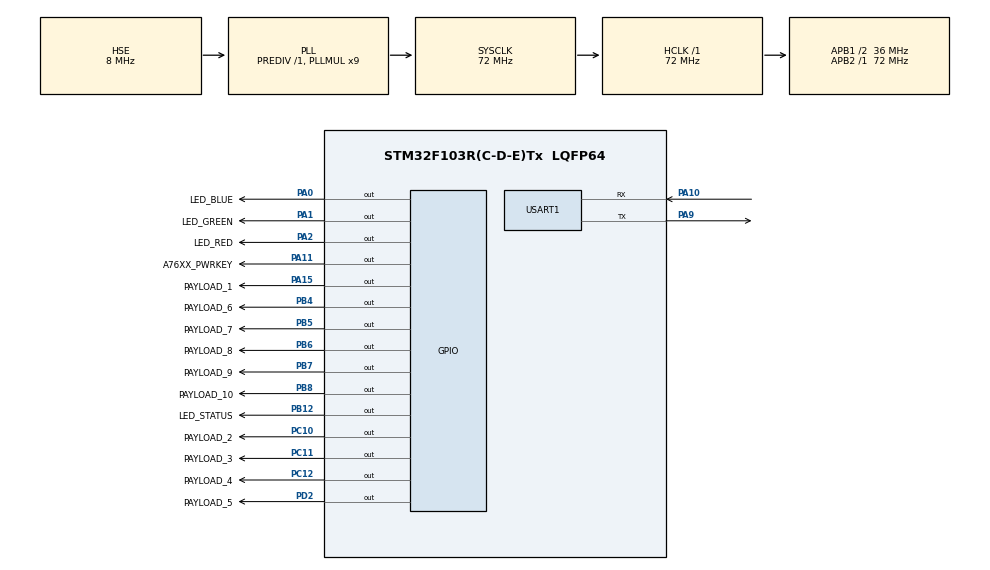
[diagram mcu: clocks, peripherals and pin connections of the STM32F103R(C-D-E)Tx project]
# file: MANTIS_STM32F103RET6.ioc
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IWDG.Prescaler=IWDG_PRESCALER_256
Mcu.Family=STM32F1
Mcu.Name=STM32F103R(C-D-E)Tx
Mcu.Package=LQFP64
NVIC.PriorityGroup=NVIC_PRIORITYGROUP_4
NVIC.TIM6_IRQn=true\:3\:0\:true\:false\:true\:true\:true\:true
NVIC.USART1_IRQn=true\:0\:0\:true\:false\:true\:true\:true\:true
PA0-WKUP.GPIO_Label=LED_BLUE
PA0-WKUP.Signal=GPIO_Output
PA1.GPIO_Label=LED_GREEN
PA1.Signal=GPIO_Output
PA10.Mode=Asynchronous
PA10.Signal=USART1_RX
PA11.GPIO_Label=A76XX_PWRKEY
PA11.Signal=GPIO_Output
PA13.Mode=Trace_Asynchronous_SW
PA13.Signal=SYS_JTMS-SWDIO
PA14.Mode=Trace_Asynchronous_SW
PA14.Signal=SYS_JTCK-SWCLK
PA15.GPIO_Label=PAYLOAD_1
PA15.Signal=GPIO_Output
PA2.GPIO_Label=LED_RED
PA2.Signal=GPIO_Output
PA9.Mode=Asynchronous
PA9.Signal=USART1_TX
PB12.GPIO_Label=LED_STATUS
PB12.Signal=GPIO_Output
PB3.Mode=Trace_Asynchronous_SW
PB3.Signal=SYS_JTDO-TRACESWO
PB4.GPIO_Label=PAYLOAD_6
PB4.Signal=GPIO_Output
PB5.GPIO_Label=PAYLOAD_7
PB5.Signal=GPIO_Output
PB6.GPIO_Label=PAYLOAD_8
PB6.Signal=GPIO_Output
PB7.GPIO_Label=PAYLOAD_9
PB7.Signal=GPIO_Output
PB8.GPIO_Label=PAYLOAD_10
PB8.Signal=GPIO_Output
PC10.GPIO_Label=PAYLOAD_2
PC10.Signal=GPIO_Output
PC11.GPIO_Label=PAYLOAD_3
PC11.Signal=GPIO_Output
PC12.GPIO_Label=PAYLOAD_4
PC12.Signal=GPIO_Output
PD0-OSC_IN.Mode=HSE-External-Oscillator
PD0-OSC_IN.Signal=RCC_OSC_IN
PD1-OSC_OUT.Mode=HSE-External-Oscillator
PD1-OSC_OUT.Signal=RCC_OSC_OUT
PD2.GPIO_Label=PAYLOAD_5
PD2.Signal=GPIO_Output
ProjectManager.HeapSize=0x200
ProjectManager.StackSize=0x400
ProjectManager.TargetToolchain=STM32CubeIDE
RCC.AHBFreq_Value=72000000
RCC.APB1CLKDivider=RCC_HCLK_DIV2
RCC.APB1Freq_Value=36000000
RCC.APB1TimFreq_Value=72000000
RCC.APB2Freq_Value=72000000
RCC.APB2TimFreq_Value=72000000
RCC.HCLKFreq_Value=72000000
RCC.PLLMUL=RCC_PLL_MUL9
RCC.PLLSourceVirtual=RCC_PLLSOURCE_HSE
RCC.SYSCLKFreq_VALUE=72000000
RCC.SYSCLKSource=RCC_SYSCLKSOURCE_PLLCLK
RCC.USBFreq_Value=72000000
TIM6.Period=1999
TIM6.Prescaler=35999
USART1.VirtualMode=VM_ASYNC
VP_IWDG_VS_IWDG.Mode=IWDG_Activate
VP_TIM6_VS_ClockSourceINT.Mode=Enable_Timer
board=custom

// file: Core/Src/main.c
/* USER CODE BEGIN Header */
/**
 ******************************************************************************
 * @file           : main.c
 * @brief          : Main program body
 ******************************************************************************
 * @attention
 *
 * Copyright (c) 2024 STMicroelectronics.
 * All rights reserved.
 *
 * This software is licensed under terms that can be found in the LICENSE file
 * in the root directory of this software component.
 * If no LICENSE file comes with this software, it is provided AS-IS.
 *
 ******************************************************************************
 */
/* USER CODE END Header */
#include "main.h"

/* USER CODE BEGIN Includes */
#include "cJSON.h"
#include "stdbool.h"
#include "stdio.h"
#include "stdlib.h"
#include "string.h"
#include <math.h>
#include "config.h"
#include "device_config.h"
#include "ota_update.h"

/* USER CODE END Includes */

/* USER CODE BEGIN PM */
int _write(int file, char *ptr, int len) {

  int i;
  for (i = 0; i < len; i++) {
    ITM_SendChar(*ptr++);
  }
  return len;
}

/* USER CODE END PM */

IWDG_HandleTypeDef hiwdg;

TIM_HandleTypeDef htim6;

UART_HandleTypeDef huart1;

/* USER CODE BEGIN PV */
GPIO_TypeDef *GPIO_LOAD_PORT[10] = {PAYLOAD_1_GPIO_Port, PAYLOAD_2_GPIO_Port,
                                    PAYLOAD_3_GPIO_Port, PAYLOAD_4_GPIO_Port,
                                    PAYLOAD_5_GPIO_Port, PAYLOAD_6_GPIO_Port,
                                    PAYLOAD_7_GPIO_Port, PAYLOAD_8_GPIO_Port,
                                    PAYLOAD_9_GPIO_Port, PAYLOAD_10_GPIO_Port};
unsigned int GPIO_LOAD_PIN[10] = {
    PAYLOAD_1_Pin, PAYLOAD_2_Pin, PAYLOAD_3_Pin, PAYLOAD_4_Pin, PAYLOAD_5_Pin,
    PAYLOAD_6_Pin, PAYLOAD_7_Pin, PAYLOAD_8_Pin, PAYLOAD_9_Pin, PAYLOAD_10_Pin};
char array_at_command[400];
float signal_strength = 0;
int on_relay = 0;
int rssi = -99;
int is_pb_done = 0;
int load_port;

char rx_buffer[RX_BUFFER_UART1];
char rx_data_sim[RX_BUFFER_UART1];
int previousTick;
int is_connect_simcom = 0;
int is_connect_mqtt = 0;
float data_percentage_pin;
int to_send_status_to_server;
uint16_t frequency_1hz = 0;

bool is_enable_mqtt = false;
bool is_connected_mqtt = false;
bool is_checked_sim = false;
bool is_subcribed_mqtt = false;
bool is_published_mqtt = false;
bool is_acquiered_mqtt = false;
bool is_updated_status = false;
bool is_rpc_response_pending = false;
uint8_t total_errors = 0;

enum GmsModemState current_status_simcom = Off;
uint8_t check_error_internet;
uint8_t check_error_mqtt;

bool check_mqtt_signal_after_restart = false;
uint16_t time_after_restart;
char rpc_response_request_id[16];
char rpc_response_payload[200];
static bool ota_request_pending;
static bool ota_tim6_was_running;
static volatile bool relay_shutdown_pending;

/* USER CODE END PV */

void SystemClock_Config(void);
static void MX_GPIO_Init(void);
static void MX_TIM6_Init(void);
static void MX_USART1_UART_Init(void);
static void MX_IWDG_Init(void);
/* USER CODE BEGIN PFP */
void enable_simcom(void); // reset module simcom A76XX
void send_to_simcom_a76xx(char *cmd);
void led_status(char cmd);
static void pause_non_ota_io(void);
static void resume_non_ota_io(void);

/* USER CODE END PFP */

/* USER CODE BEGIN 0 */
void HAL_TIM_PeriodElapsedCallback(TIM_HandleTypeDef *htim) {
  if (htim->Instance == htim6.Instance) {
    if (current_status_simcom >= Subscribed) {
      frequency_1hz++;
      if (frequency_1hz >= INTERVAL_PUPLISH_DATA) {
        to_send_status_to_server = 1;
        frequency_1hz = 0;
      }
    }
    if (!check_mqtt_signal_after_restart) {
      time_after_restart++;
      if (time_after_restart > CHECK_TIME_AFTER_MQTT_RESTART) {
        relay_shutdown_pending = true;
        check_mqtt_signal_after_restart = true;
      }
    }
  }
}
void enable_simcom(void) {
  led_status('R');
  printf("Enable SIMCOM\n");
#if SIMCOM_MODEL == a7080
  send_to_simcom_a76xx("AT+CPOWD=1\r\n");
  HAL_Delay(5000);
  HAL_GPIO_WritePin(A76XX_PWRKEY_GPIO_Port, A76XX_PWRKEY_Pin, SET);
  HAL_Delay(4000);
  HAL_GPIO_WritePin(A76XX_PWRKEY_GPIO_Port, A76XX_PWRKEY_Pin, RESET);
  HAL_Delay(4000);
#else
  HAL_GPIO_WritePin(A76XX_PWRKEY_GPIO_Port, A76XX_PWRKEY_Pin, SET);
  HAL_Delay(3300);
  HAL_GPIO_WritePin(A76XX_PWRKEY_GPIO_Port, A76XX_PWRKEY_Pin, RESET);
  HAL_Delay(3300);
  HAL_GPIO_WritePin(A76XX_PWRKEY_GPIO_Port, A76XX_PWRKEY_Pin, SET);
  HAL_Delay(500);
  HAL_GPIO_WritePin(A76XX_PWRKEY_GPIO_Port, A76XX_PWRKEY_Pin, RESET);
  HAL_Delay(1000);
#endif
}
void led_status(char cmd) {
  if (cmd == 'R') {
    HAL_GPIO_WritePin(LED_BLUE_GPIO_Port, LED_BLUE_Pin, SET);
    HAL_GPIO_WritePin(LED_RED_GPIO_Port, LED_RED_Pin, SET);
    HAL_GPIO_WritePin(LED_GREEN_GPIO_Port, LED_GREEN_Pin, RESET);
  } else if (cmd == 'B') {
    HAL_GPIO_WritePin(LED_BLUE_GPIO_Port, LED_BLUE_Pin, SET);
    HAL_GPIO_WritePin(LED_RED_GPIO_Port, LED_RED_Pin, RESET);
    HAL_GPIO_WritePin(LED_GREEN_GPIO_Port, LED_GREEN_Pin, SET);
  } else if (cmd == 'G') {
    HAL_GPIO_WritePin(LED_BLUE_GPIO_Port, LED_BLUE_Pin, RESET);
    HAL_GPIO_WritePin(LED_RED_GPIO_Port, LED_RED_Pin, SET);
    HAL_GPIO_WritePin(LED_GREEN_GPIO_Port, LED_GREEN_Pin, SET);
  } else if (cmd == 'W') {
    HAL_GPIO_WritePin(LED_BLUE_GPIO_Port, LED_BLUE_Pin, RESET);
    HAL_GPIO_WritePin(LED_RED_GPIO_Port, LED_RED_Pin, RESET);
    HAL_GPIO_WritePin(LED_GREEN_GPIO_Port, LED_GREEN_Pin, RESET);
  }
}

static void pause_non_ota_io(void) {
  ota_tim6_was_running = (htim6.Instance->CR1 & TIM_CR1_CEN) != 0U;
  to_send_status_to_server = 0;
  HAL_TIM_Base_Stop_IT(&htim6);
  __HAL_TIM_CLEAR_FLAG(&htim6, TIM_FLAG_UPDATE);
  HAL_NVIC_ClearPendingIRQ(TIM6_IRQn);
  /* USART1 is the only active data path during OTA and must preempt all
   * remaining interrupts while receiving binary HTTP chunks. */
  HAL_NVIC_SetPriority(USART1_IRQn, 0U, 0U);
  printf("[OTA] non-OTA I/O paused; USART1 priority=0\r\n");
}

static void resume_non_ota_io(void) {
  __HAL_TIM_CLEAR_FLAG(&htim6, TIM_FLAG_UPDATE);
  if (ota_tim6_was_running) {
    HAL_TIM_Base_Start_IT(&htim6);
  }
}
void check_handle_state(enum GmsModemState status) {
  switch (status) {
  case Off: {
    enable_simcom();
    IWDG->KR = 0xAAAA;
    is_pb_done = wait_for_pb_done_event();
    if (is_pb_done) {
      current_status_simcom = On;
      printf("Current status Simcom On \r\n");
    } else {
      NVIC_SystemReset();
    }
    break;
  }
  case On: {
    IWDG->KR = 0xAAAA;
    is_checked_sim = check_signal_simcom();
    if (is_checked_sim) {
      total_errors = 0;
      current_status_simcom = InternetReady;
      printf("Simcom current status is Internet ready\r\n");
    } else {
      total_errors++;
    }
    if (total_errors > 10) {
      restart_stm32();
    }
    break;
  }
  case InternetReady: {
    IWDG->KR = 0xAAAA;
    is_enable_mqtt = enable_mqtt_on_gsm_modem();
#if SIMCOM_MODEL != a7080
    if (is_enable_mqtt) {
      is_acquiered_mqtt = acquire_gsm_mqtt_client();
    } else {
      NVIC_SystemReset();
    }
    if (is_acquiered_mqtt) {
      is_connected_mqtt = connect_mqtt_server_by_gsm();
    }
#endif
    if (is_connected_mqtt) {
      total_errors = 0;
      led_status('G');
      current_status_simcom = MqttReady;
      printf("Simcom current status is MQTT ready\r\n");
    } else
      total_errors++;
    if (total_errors > 3) {
      restart_stm32();
    }
    break;
  }
  case MqttReady: {
    IWDG->KR = 0xAAAA;
    is_subcribed_mqtt = subscribe_mqtt_via_gsm();
    if (is_subcribed_mqtt) {
      total_errors = 0;
      current_status_simcom = Subscribed;
      printf("\r\nCurrent status Simcom Subscribed \r\n");
    } else
      total_errors++;
    if (total_errors > 3) {
      restart_stm32();
    }
    break;
  }
  case Subscribed: {
    if (to_send_status_to_server) {
      is_updated_status = send_payload_signal_to_server();
      if (is_updated_status) {
        to_send_status_to_server = 0;
        is_updated_status=0;
        IWDG->KR = 0xAAAA;
        total_errors = 0;
      } else {
        total_errors++;
        if (total_errors > 3) {
          stop_mqtt_via_gsm();
          current_status_simcom = On;
        }
      }
    }
    break;
  }
  case Response: {
    printf("STM32 response data server !\r\n");
    if (is_rpc_response_pending) {
      IWDG->KR = 0xAAAA;
      if (publish_rpc_response_via_gsm()) {
        is_rpc_response_pending = false;
        rpc_response_request_id[0] = '\0';
        rpc_response_payload[0] = '\0';
        current_status_simcom = Subscribed;
        total_errors = 0;
      } else {
        total_errors++;
        if (total_errors > 3) {
          is_rpc_response_pending = false;
          rpc_response_request_id[0] = '\0';
          rpc_response_payload[0] = '\0';
          stop_mqtt_via_gsm();
          current_status_simcom = On;
        }
      }
    } else {
      current_status_simcom = Subscribed;
    }
    break;
  }
  default:
    printf("Case cannot be determined !\r\n");
  }
}

/* USER CODE END 0 */

int main(void)
{

  /* MCU Configuration--------------------------------------------------------*/

  /* Reset of all peripherals, Initializes the Flash interface and the Systick. */
  HAL_Init();

  /* Configure the system clock */
  SystemClock_Config();

  /* Initialize all configured peripherals */
  MX_GPIO_Init();
  MX_TIM6_Init();
  MX_USART1_UART_Init();
  MX_IWDG_Init();
  /* USER CODE BEGIN 2 */
  HAL_Delay(500U);
  printf("-----Welcome to Agriconnect-----\n");
  printf("-----Hello Mantis-----\n");
  {
    const device_config_t *device_config = device_config_get();
    if (device_config != NULL) {
      printf("[CONFIG] factory configuration valid serial=%s client_id=%s\r\n",
             device_config->serial_number, device_config->mqtt_client_id);
    } else {
      printf("[CONFIG] ERROR: flash bootloader with factory settings first\r\n");
    }
  }
#if SAVE_LOAD
  control_vavle_form_flash();
#endif
  HAL_UARTEx_ReceiveToIdle_IT(&huart1, (uint8_t *)rx_buffer, RX_BUFFER_UART1);
  ota_init();
  HAL_TIM_Base_Start_IT(&htim6);

  /* USER CODE END 2 */

  /* Infinite loop */
  while (1) {

    /* USER CODE BEGIN 3 */
    process_simcom_rx();
    if (relay_shutdown_pending) {
      relay_shutdown_pending = false;
      for (int i = 0; i < NUMBER_LOADS; i++) {
        HAL_GPIO_WritePin(GPIO_LOAD_PORT[i], GPIO_LOAD_PIN[i], GPIO_PIN_RESET);
      }
      write_status_load();
    }
    if (ota_take_request()) {
      ota_request_pending = true;
      to_send_status_to_server = 0;
    }
    if (ota_request_pending) {
      ota_result_t ota_result;
      bool ota_ack_sent = false;
      ota_request_pending = false;
      for (uint8_t attempt = 1U; attempt <= 3U; attempt++) {
        printf("[OTA] ACK attempt %u/3\r\n", attempt);
        if (publish_ota_ack_via_gsm()) {
          ota_ack_sent = true;
          break;
        }
        HAL_Delay(250U);
      }
      if (!ota_ack_sent) {
        printf("[OTA] ACK unavailable; continuing update check\r\n");
      }
      printf("[OTA] starting update check (modem_state=%d)\r\n",
             (int)current_status_simcom);
      pause_non_ota_io();
      ota_result = ota_check_and_download();
      if (ota_result == OTA_RESULT_OK) {
        printf("[OTA] image verified; resetting to bootloader\r\n");
        HAL_Delay(500U);
        NVIC_SystemReset();
        while (1) {
          IWDG->KR = 0xAAAAU;
        }
      } else if (ota_result == OTA_RESULT_NO_UPDATE) {
        resume_non_ota_io();
        printf("[OTA] firmware is already current\r\n");
      } else if (ota_result == OTA_RESULT_BUSY) {
        resume_non_ota_io();
        printf("[OTA] update is already running\r\n");
      } else {
        resume_non_ota_io();
        printf("[OTA] update failed\r\n");
      }
    } else if (!simcom_mqtt_rx_pending()) {
      check_handle_state(current_status_simcom);
    } else {
      IWDG->KR = 0xAAAAU;
    }
  }
  /* USER CODE END 3 */
}

void SystemClock_Config(void)
{
  RCC_OscInitTypeDef RCC_OscInitStruct = {0};
  RCC_ClkInitTypeDef RCC_ClkInitStruct = {0};

  /** Initializes the RCC Oscillators according to the specified parameters
  * in the RCC_OscInitTypeDef structure.
  */
  RCC_OscInitStruct.OscillatorType = RCC_OSCILLATORTYPE_LSI|RCC_OSCILLATORTYPE_HSE;
  RCC_OscInitStruct.HSEState = RCC_HSE_ON;
  RCC_OscInitStruct.HSEPredivValue = RCC_HSE_PREDIV_DIV1;
  RCC_OscInitStruct.HSIState = RCC_HSI_ON;
  RCC_OscInitStruct.LSIState = RCC_LSI_ON;
  RCC_OscInitStruct.PLL.PLLState = RCC_PLL_ON;
  RCC_OscInitStruct.PLL.PLLSource = RCC_PLLSOURCE_HSE;
  RCC_OscInitStruct.PLL.PLLMUL = RCC_PLL_MUL9;
  if (HAL_RCC_OscConfig(&RCC_OscInitStruct) != HAL_OK)
  {
    Error_Handler();
  }

  /** Initializes the CPU, AHB and APB buses clocks
  */
  RCC_ClkInitStruct.ClockType = RCC_CLOCKTYPE_HCLK|RCC_CLOCKTYPE_SYSCLK
                              |RCC_CLOCKTYPE_PCLK1|RCC_CLOCKTYPE_PCLK2;
  RCC_ClkInitStruct.SYSCLKSource = RCC_SYSCLKSOURCE_PLLCLK;
  RCC_ClkInitStruct.AHBCLKDivider = RCC_SYSCLK_DIV1;
  RCC_ClkInitStruct.APB1CLKDivider = RCC_HCLK_DIV2;
  RCC_ClkInitStruct.APB2CLKDivider = RCC_HCLK_DIV1;

  if (HAL_RCC_ClockConfig(&RCC_ClkInitStruct, FLASH_LATENCY_2) != HAL_OK)
  {
    Error_Handler();
  }
}

static void MX_IWDG_Init(void)
{

  hiwdg.Instance = IWDG;
  hiwdg.Init.Prescaler = IWDG_PRESCALER_256;
  hiwdg.Init.Reload = 4095;
  if (HAL_IWDG_Init(&hiwdg) != HAL_OK)
  {
    Error_Handler();
  }

}

static void MX_TIM6_Init(void)
{

  TIM_MasterConfigTypeDef sMasterConfig = {0};

  htim6.Instance = TIM6;
  htim6.Init.Prescaler = 35999;
  htim6.Init.CounterMode = TIM_COUNTERMODE_UP;
  htim6.Init.Period = 1999;
  htim6.Init.AutoReloadPreload = TIM_AUTORELOAD_PRELOAD_DISABLE;
  if (HAL_TIM_Base_Init(&htim6) != HAL_OK)
  {
    Error_Handler();
  }
  sMasterConfig.MasterOutputTrigger = TIM_TRGO_RESET;
  sMasterConfig.MasterSlaveMode = TIM_MASTERSLAVEMODE_DISABLE;
  if (HAL_TIMEx_MasterConfigSynchronization(&htim6, &sMasterConfig) != HAL_OK)
  {
    Error_Handler();
  }

}

static void MX_USART1_UART_Init(void)
{

  huart1.Instance = USART1;
  huart1.Init.BaudRate = 115200;
  huart1.Init.WordLength = UART_WORDLENGTH_8B;
  huart1.Init.StopBits = UART_STOPBITS_1;
  huart1.Init.Parity = UART_PARITY_NONE;
  huart1.Init.Mode = UART_MODE_TX_RX;
  huart1.Init.HwFlowCtl = UART_HWCONTROL_NONE;
  huart1.Init.OverSampling = UART_OVERSAMPLING_16;
  if (HAL_UART_Init(&huart1) != HAL_OK)
  {
    Error_Handler();
  }

}

static void MX_GPIO_Init(void)
{
  GPIO_InitTypeDef GPIO_InitStruct = {0};

  /* GPIO Ports Clock Enable */
  __HAL_RCC_GPIOD_CLK_ENABLE();
  __HAL_RCC_GPIOA_CLK_ENABLE();
  __HAL_RCC_GPIOB_CLK_ENABLE();
  __HAL_RCC_GPIOC_CLK_ENABLE();

  /*Configure GPIO pin Output Level */
  HAL_GPIO_WritePin(GPIOA, LED_BLUE_Pin|LED_GREEN_Pin|LED_RED_Pin|A76XX_PWRKEY_Pin
                          |PAYLOAD_1_Pin, GPIO_PIN_RESET);

  /*Configure GPIO pin Output Level */
  HAL_GPIO_WritePin(GPIOB, LED_STATUS_Pin|PAYLOAD_6_Pin|PAYLOAD_7_Pin|PAYLOAD_8_Pin
                          |PAYLOAD_9_Pin|PAYLOAD_10_Pin, GPIO_PIN_RESET);

  /*Configure GPIO pin Output Level */
  HAL_GPIO_WritePin(GPIOC, PAYLOAD_2_Pin|PAYLOAD_3_Pin|PAYLOAD_4_Pin, GPIO_PIN_RESET);

  /*Configure GPIO pin Output Level */
  HAL_GPIO_WritePin(PAYLOAD_5_GPIO_Port, PAYLOAD_5_Pin, GPIO_PIN_RESET);

  /*Configure GPIO pins : LED_BLUE_Pin LED_GREEN_Pin LED_RED_Pin A76XX_PWRKEY_Pin
                           PAYLOAD_1_Pin */
  GPIO_InitStruct.Pin = LED_BLUE_Pin|LED_GREEN_Pin|LED_RED_Pin|A76XX_PWRKEY_Pin
                          |PAYLOAD_1_Pin;
  GPIO_InitStruct.Mode = GPIO_MODE_OUTPUT_PP;
  GPIO_InitStruct.Pull = GPIO_NOPULL;
  GPIO_InitStruct.Speed = GPIO_SPEED_FREQ_LOW;
  HAL_GPIO_Init(GPIOA, &GPIO_InitStruct);

  /*Configure GPIO pins : LED_STATUS_Pin PAYLOAD_6_Pin PAYLOAD_7_Pin PAYLOAD_8_Pin
                           PAYLOAD_9_Pin PAYLOAD_10_Pin */
  GPIO_InitStruct.Pin = LED_STATUS_Pin|PAYLOAD_6_Pin|PAYLOAD_7_Pin|PAYLOAD_8_Pin
                          |PAYLOAD_9_Pin|PAYLOAD_10_Pin;
  GPIO_InitStruct.Mode = GPIO_MODE_OUTPUT_PP;
  GPIO_InitStruct.Pull = GPIO_NOPULL;
  GPIO_InitStruct.Speed = GPIO_SPEED_FREQ_LOW;
  HAL_GPIO_Init(GPIOB, &GPIO_InitStruct);

  /*Configure GPIO pins : PAYLOAD_2_Pin PAYLOAD_3_Pin PAYLOAD_4_Pin */
  GPIO_InitStruct.Pin = PAYLOAD_2_Pin|PAYLOAD_3_Pin|PAYLOAD_4_Pin;
  GPIO_InitStruct.Mode = GPIO_MODE_OUTPUT_PP;
  GPIO_InitStruct.Pull = GPIO_NOPULL;
  GPIO_InitStruct.Speed = GPIO_SPEED_FREQ_LOW;
  HAL_GPIO_Init(GPIOC, &GPIO_InitStruct);

  /*Configure GPIO pin : PAYLOAD_5_Pin */
  GPIO_InitStruct.Pin = PAYLOAD_5_Pin;
  GPIO_InitStruct.Mode = GPIO_MODE_OUTPUT_PP;
  GPIO_InitStruct.Pull = GPIO_NOPULL;
  GPIO_InitStruct.Speed = GPIO_SPEED_FREQ_LOW;
  HAL_GPIO_Init(PAYLOAD_5_GPIO_Port, &GPIO_InitStruct);

}

void Error_Handler(void)
{
  __disable_irq();
  while (1) {
  }
}

#ifdef  USE_FULL_ASSERT
/**
  * @brief  Reports the name of the source file and the source line number
  *         where the assert_param error has occurred.
  * @param  file: pointer to the source file name
  * @param  line: assert_param error line source number
  * @retval None
  */
void assert_failed(uint8_t *file, uint32_t line)
{
  /* USER CODE BEGIN 6 */
  /* User can add his own implementation to report the file name and line
     number, ex: printf("Wrong parameters value: file %s on line %d\r\n", file,
     line) */
  /* USER CODE END 6 */
}
#endif /* USE_FULL_ASSERT */
